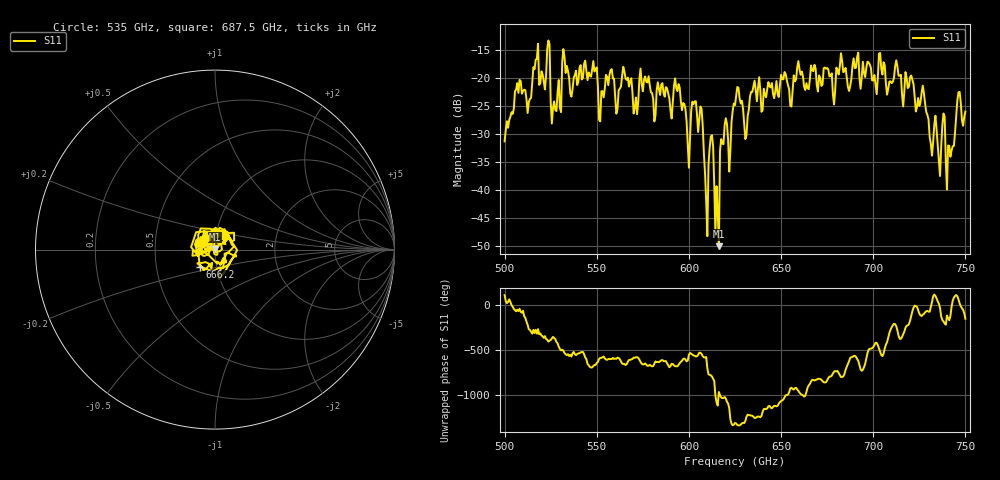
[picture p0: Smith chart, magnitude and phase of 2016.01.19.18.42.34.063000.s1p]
!Created with skrf (http://scikit-rf.org).
# GHz S RI R 50.0
!freq ReS11 ImS11
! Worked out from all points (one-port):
!   401 points, 500 GHz to 750 GHz, reference 50 ohm
!   lowest |S11| = -50.0 dB at 616.2 GHz (marker M1), VSWR 1.01, Z = 49.9 + j0.294 ohm
!   |S11| at or under -10 dB: start of sweep to end of sweep
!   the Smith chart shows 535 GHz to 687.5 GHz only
!   S11 on the Smith chart (normalised r, x): 535 GHz: 0.83, +0.07; 666.2 GHz: 0.83, -0.16; 687.5 GHz: 0.88, +0.11
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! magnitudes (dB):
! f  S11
! 500 GHz  -31.3
! 507.5 GHz  -22.7
! 513.1 GHz  -24.3
! 516.9 GHz  -16.7
! 523.8 GHz  -13.3
! 526.9 GHz  -24.2
! 531.2 GHz  -17.2
! 535 GHz  -20.0
! 562.5 GHz  -21.9
! 593.8 GHz  -22.3
! 599.4 GHz  -32.1
! 606.2 GHz  -25.1
! 609.4 GHz  -42.1
! 611.9 GHz  -30.5
! 615 GHz  -39.3
! 616.2 GHz  -50.0
! 618.8 GHz  -31.8
! 622.5 GHz  -32.9
! 625 GHz  -24.9
! 631.2 GHz  -30.2
! 635 GHz  -21.5
! 656.2 GHz  -22.4
! 666.2 GHz  -17.7
! 687.5 GHz  -21.4
! 718.8 GHz  -21.8
! 740.6 GHz  -32.0
! 746.2 GHz  -22.5
! 750 GHz  -26.0
